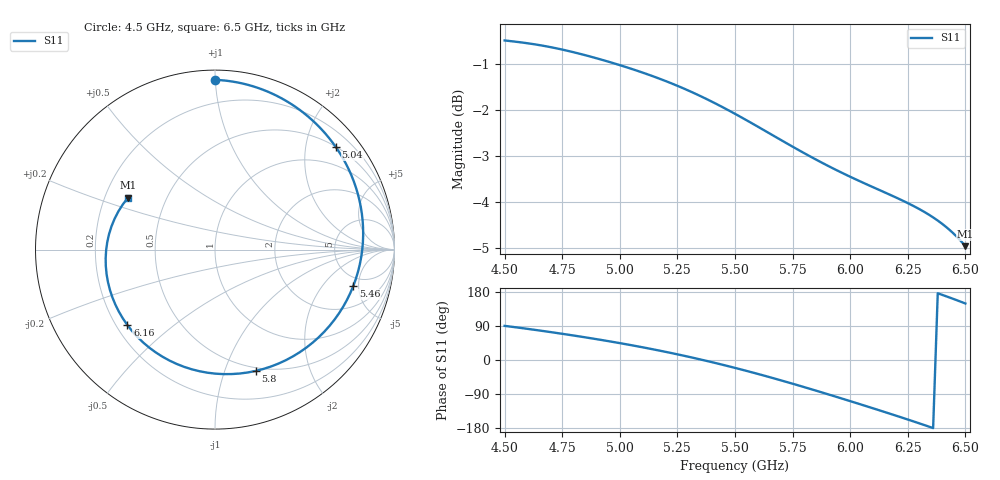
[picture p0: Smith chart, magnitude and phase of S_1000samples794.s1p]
! TOUCHSTONE file generated by CST MICROWAVE STUDIO
! Date and time: Sat Oct 29 10:00:53 2022
! Project name: L.cst
! Parameters = {Di=1.27; Epsilon_r=1.56; InnerDiameter=1.27; Length=2; Lf=10; Lg=60; OuterConductorThickness=0.2921; OuterDiameter=3.6; Wf=3; Wp=41.2; de=1.5; df=6.8; g=0.8; gx=4.56602; gy=2.76256; h=2.34; hf=1.524; px=12.355; py=12.5658; w=9.7; wx=7.78901; wy=9.80321}
! Header version: 2018
! Port assignment regex: !\s*Touchstone port\s*([0-9]+)\s*=\s*(CST MWS port|CST DS port)\s*([0-9]+|Zmin|Zmax)\s*\(\"(.*)\"\)(\s*mode\s*([0-9]+))?.*
! Touchstone port assignment:
! Touchstone port 1 = CST MWS port 1 ("")
# GHz S DB R 50
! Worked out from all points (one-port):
!   101 points, 4.5 GHz to 6.5 GHz, reference 50 ohm
!   lowest |S11| = -5.0 dB at 6.5 GHz (marker M1), VSWR 3.59, Z = 14.9 + j12.7 ohm
!   |S11| at or under -10 dB: nowhere
!   S11 on the Smith chart (normalised r, x): 4.5 GHz: 0.06, +1.00; 5.04 GHz: 0.51, +2.65; 5.46 GHz: 3.91, -4.33; 5.8 GHz: 0.47, -1.28; 6.16 GHz: 0.24, -0.35; 6.5 GHz: 0.30, +0.25
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4.5  -0.48 90.1
4.64  -0.57 78.8
4.76  -0.69 68.2
4.88  -0.84 56.9
5  -1.02 44.5
5.04  -1.08 40.2
5.16  -1.29 26.3
5.26  -1.49 13.6
5.36  -1.72 -0.0
5.46  -1.97 -14.7
5.5  -2.08 -20.8
5.56  -2.25 -30.3
5.64  -2.48 -43.6
5.7  -2.65 -53.8
5.76  -2.83 -64.3
5.8  -2.94 -71.5
5.86  -3.10 -82.4
5.9  -3.21 -89.8
5.94  -3.31 -97.2
6  -3.45 -108.5
6.08  -3.64 -123.8
6.16  -3.82 -139.3
6.22  -3.96 -151.1
6.26  -4.06 -159.1
6.32  -4.22 -171.3
6.38  -4.41 176.1
6.44  -4.65 162.9
6.5  -4.97 149.1
